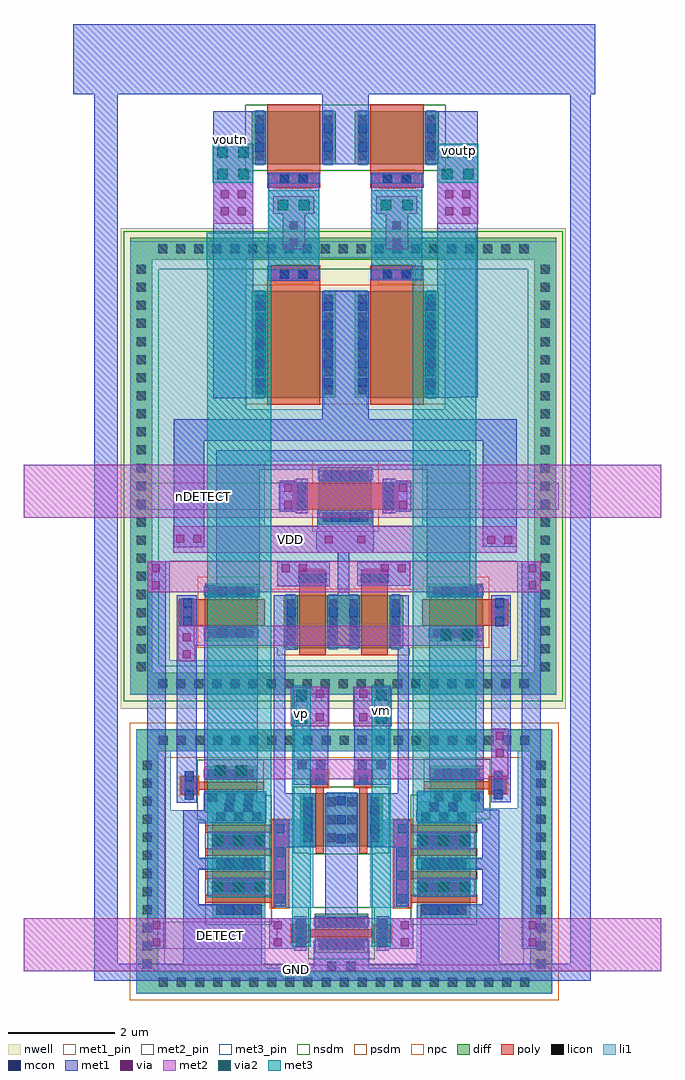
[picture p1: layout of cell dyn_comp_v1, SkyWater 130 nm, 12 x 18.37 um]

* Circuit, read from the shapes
.subckt dyn_comp_v1 DETECT GND VDD nDETECT vm voutn voutp vp
XM1 sky130_fd_pr__nfet_01v8_9ZWGZ9_1/D sky130_fd_pr__nfet_01v8_9ZWGZ9_0/D GND VSUBS sky130_fd_pr__nfet_01v8 w=1 l=0.15
XM2 sky130_fd_pr__nfet_01v8_9ZWGZ9_1/D sky130_fd_pr__pfet_01v8_KDZMJM_14/D GND VSUBS sky130_fd_pr__nfet_01v8 w=1 l=0.15 m=4
XM3 GND sky130_fd_pr__nfet_01v8_9ZWGZ9_1/D voutn VSUBS sky130_fd_pr__nfet_01v8 w=1 l=1
XM4 sky130_fd_pr__nfet_01v8_9ZWGZ9_7/D DETECT GND VSUBS sky130_fd_pr__nfet_01v8 w=1 l=0.15
XM5 sky130_fd_pr__nfet_01v8_9ZWGZ9_7/D vp sky130_fd_pr__pfet_01v8_KDZMJM_14/D VSUBS sky130_fd_pr__nfet_01v8 w=1 l=0.15
XM6 sky130_fd_pr__nfet_01v8_9ZWGZ9_8/D vm sky130_fd_pr__nfet_01v8_9ZWGZ9_7/D VSUBS sky130_fd_pr__nfet_01v8 w=1 l=0.15
XM7 voutp sky130_fd_pr__nfet_01v8_9ZWGZ9_0/D GND VSUBS sky130_fd_pr__nfet_01v8 w=1 l=1
XM8 sky130_fd_pr__nfet_01v8_9ZWGZ9_0/D sky130_fd_pr__nfet_01v8_9ZWGZ9_8/D GND VSUBS sky130_fd_pr__nfet_01v8 w=1 l=0.15 m=4
XM9 sky130_fd_pr__nfet_01v8_9ZWGZ9_0/D sky130_fd_pr__nfet_01v8_9ZWGZ9_1/D GND VSUBS sky130_fd_pr__nfet_01v8 w=1 l=0.15
XM10 sky130_fd_pr__pfet_01v8_KDZMJM_13/D sky130_fd_pr__nfet_01v8_9ZWGZ9_0/D sky130_fd_pr__nfet_01v8_9ZWGZ9_1/D n1 sky130_fd_pr__pfet_01v8 w=1 l=0.5
XM11 VDD sky130_fd_pr__nfet_01v8_9ZWGZ9_1/D voutn n1 sky130_fd_pr__pfet_01v8 w=2 l=1
XM12 VDD DETECT sky130_fd_pr__pfet_01v8_KDZMJM_14/D n1 sky130_fd_pr__pfet_01v8 w=1 l=0.5
XM13 sky130_fd_pr__pfet_01v8_KDZMJM_13/D nDETECT VDD n1 sky130_fd_pr__pfet_01v8 w=1 l=0.5
XM14 sky130_fd_pr__nfet_01v8_9ZWGZ9_8/D DETECT VDD n1 sky130_fd_pr__pfet_01v8 w=1 l=0.5
XM15 voutp sky130_fd_pr__nfet_01v8_9ZWGZ9_0/D VDD n1 sky130_fd_pr__pfet_01v8 w=2 l=1
XM16 sky130_fd_pr__pfet_01v8_KDZMJM_13/D sky130_fd_pr__nfet_01v8_9ZWGZ9_1/D sky130_fd_pr__nfet_01v8_9ZWGZ9_0/D n1 sky130_fd_pr__pfet_01v8 w=1 l=0.5
.ends

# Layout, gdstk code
from math import pi, radians
import gdstk
lib = gdstk.Library(unit=1e-6, precision=1e-09)
def R(c, l, rs):  # rectangles x0, y0, x1, y1
    for r in rs: c.add(gdstk.rectangle(r[:2], r[2:], *l))
def A(c, l, x, y, w, h, nx, ny, dx, dy):  # array of equal rectangles
    R(c, l, [(x+i*dx, y+j*dy, x+i*dx+w, y+j*dy+h) for i in range(nx) for j in range(ny)])
nwell = (64, 20)
diff = (65, 20)
poly = (66, 20)
licon = (66, 44)
li1 = (67, 20)
mcon = (67, 44)
met1_pin = (68, 16)
met1 = (68, 20)
via = (68, 44)
met2_pin = (69, 16)
met2 = (69, 20)
via2 = (69, 44)
met3_pin = (70, 16)
met3 = (70, 20)
nsdm = (93, 44)
psdm = (94, 20)
npc = (95, 20)

sky130_fd_pr__nfet_01v8_ = lib.new_cell('sky130_fd_pr__nfet_01v8_9ZWGZ9')
R(sky130_fd_pr__nfet_01v8_, diff, [(-0.365,-0.655,0.365,0.345)])
R(sky130_fd_pr__nfet_01v8_, poly, [(-0.075,-0.785,0.075,0.455), (-0.165,0.455,0.165,0.785)])
A(sky130_fd_pr__nfet_01v8_, licon, -0.305, -0.58, 0.17, 0.17, 1, 3, 0, 0.34)
A(sky130_fd_pr__nfet_01v8_, licon, 0.135, -0.58, 0.17, 0.17, 1, 3, 0, 0.34)
R(sky130_fd_pr__nfet_01v8_, licon, [(-0.085,0.535,0.085,0.705)])
R(sky130_fd_pr__nfet_01v8_, li1, [(-0.305,-0.66,-0.135,0.35), (0.125,-0.66,0.315,0.35), (-0.165,0.535,0.165,0.705)])
R(sky130_fd_pr__nfet_01v8_, met1, [(-0.145,0.505,0.145,0.735)])
R(sky130_fd_pr__nfet_01v8_, nsdm, [(-0.49,-0.78,0.49,0.47)])
R(sky130_fd_pr__nfet_01v8_, npc, [(-0.185,0.435,0.185,0.805)])
sky130_fd_pr__nfet_01v8_.add(gdstk.Label('G', (0,0.62), layer=67, texttype=5))
sky130_fd_pr__nfet_01v8_.add(gdstk.Label('S', (0.22,-0.155), layer=67, texttype=5))
sky130_fd_pr__nfet_01v8_.add(gdstk.Label('D', (-0.22,-0.155), layer=67, texttype=5))

l1m1_cdns_7790487106243 = lib.new_cell('L1M1_CDNS_7790487106243')
R(l1m1_cdns_7790487106243, li1, [(-0.085,-0.085,0.085,0.085)])
R(l1m1_cdns_7790487106243, mcon, [(-0.085,-0.085,0.085,0.085)])
R(l1m1_cdns_7790487106243, met1, [(-0.145,-0.115,0.145,0.115)])

c_sky130_fd_pr__nfet_01v8_ = lib.new_cell('sky130_fd_pr__nfet_01v8_ML4XRG')
R(c_sky130_fd_pr__nfet_01v8_, diff, [(-0.365,-0.345,0.365,0.655)])
R(c_sky130_fd_pr__nfet_01v8_, poly, [(-0.165,-0.785,0.165,-0.455), (-0.075,-0.455,0.075,0.785)])
A(c_sky130_fd_pr__nfet_01v8_, licon, -0.305, -0.27, 0.17, 0.17, 1, 3, 0, 0.34)
A(c_sky130_fd_pr__nfet_01v8_, licon, 0.135, -0.27, 0.17, 0.17, 1, 3, 0, 0.34)
R(c_sky130_fd_pr__nfet_01v8_, licon, [(-0.085,-0.705,0.085,-0.535)])
R(c_sky130_fd_pr__nfet_01v8_, li1, [(-0.165,-0.705,0.165,-0.535), (-0.305,-0.35,-0.135,0.66), (0.135,-0.35,0.305,0.66)])
R(c_sky130_fd_pr__nfet_01v8_, met1, [(-0.335,-0.345,-0.105,0.655), (0.105,-0.345,0.335,0.655)])
R(c_sky130_fd_pr__nfet_01v8_, nsdm, [(-0.49,-0.47,0.49,0.78)])
R(c_sky130_fd_pr__nfet_01v8_, npc, [(-0.185,-0.805,0.185,-0.435)])
c_sky130_fd_pr__nfet_01v8_.add(gdstk.Reference(l1m1_cdns_7790487106243, (-0.18,-0.62)))
c_sky130_fd_pr__nfet_01v8_.add(gdstk.Reference(l1m1_cdns_7790487106243, (0.18,-0.62)))
c_sky130_fd_pr__nfet_01v8_.add(gdstk.Label('G', (0,-0.62), layer=67, texttype=5))
c_sky130_fd_pr__nfet_01v8_.add(gdstk.Label('S', (0.22,0.155), layer=67, texttype=5))
c_sky130_fd_pr__nfet_01v8_.add(gdstk.Label('D', (-0.22,0.155), layer=67, texttype=5))

l1m1_cdns_7790487106223 = lib.new_cell('L1M1_CDNS_7790487106223')
R(l1m1_cdns_7790487106223, li1, [(-0.265,-0.085,0.265,0.085)])
R(l1m1_cdns_7790487106223, mcon, [(-0.265,-0.085,-0.095,0.085), (0.095,-0.085,0.265,0.085)])
R(l1m1_cdns_7790487106223, met1, [(-0.325,-0.115,0.325,0.115)])

sky130_fd_pr__pfet_01v8_ = lib.new_cell('sky130_fd_pr__pfet_01v8_KDZMJM')
R(sky130_fd_pr__pfet_01v8_, nwell, [(-0.72,-0.99,0.72,0.82)])
R(sky130_fd_pr__pfet_01v8_, diff, [(-0.54,-0.68,0.54,0.32)])
R(sky130_fd_pr__pfet_01v8_, poly, [(-0.25,-0.81,0.25,0.805)])
A(sky130_fd_pr__pfet_01v8_, licon, -0.48, -0.605, 0.17, 0.17, 1, 3, 0, 0.34)
A(sky130_fd_pr__pfet_01v8_, licon, 0.31, -0.605, 0.17, 0.17, 1, 3, 0, 0.34)
R(sky130_fd_pr__pfet_01v8_, licon, [(-0.085,0.555,0.085,0.725)])
R(sky130_fd_pr__pfet_01v8_, li1, [(-0.48,-0.7,-0.31,0.34), (0.31,-0.7,0.48,0.34), (-0.25,0.555,0.25,0.725)])
R(sky130_fd_pr__pfet_01v8_, mcon, [(-0.48,-0.445,-0.31,-0.275), (0.31,-0.445,0.48,-0.275), (-0.48,-0.085,-0.31,0.085), (0.31,-0.085,0.48,0.085)])
R(sky130_fd_pr__pfet_01v8_, met1, [(-0.51,-0.68,-0.28,0.32), (0.28,-0.68,0.51,0.32), (-0.23,0.525,0.23,0.755)])
R(sky130_fd_pr__pfet_01v8_, psdm, [(-0.665,-0.805,0.665,0.445)])
R(sky130_fd_pr__pfet_01v8_, npc, [(-0.185,0.455,0.185,0.825)])
sky130_fd_pr__pfet_01v8_.add(gdstk.Reference(l1m1_cdns_7790487106223, (0,0.64)))
sky130_fd_pr__pfet_01v8_.add(gdstk.Label('G', (0,0.64), layer=67, texttype=5))
sky130_fd_pr__pfet_01v8_.add(gdstk.Label('S', (0.395,-0.18), layer=67, texttype=5))
sky130_fd_pr__pfet_01v8_.add(gdstk.Label('D', (-0.395,-0.18), layer=67, texttype=5))

c_sky130_fd_pr__pfet_01v8_ = lib.new_cell('sky130_fd_pr__pfet_01v8_U2XPXD')
R(c_sky130_fd_pr__pfet_01v8_, nwell, [(-0.72,-1,0.72,1)])
R(c_sky130_fd_pr__pfet_01v8_, diff, [(-0.54,-0.5,0.54,0.5)])
R(c_sky130_fd_pr__pfet_01v8_, poly, [(-0.25,-0.985,0.25,0.985)])
A(c_sky130_fd_pr__pfet_01v8_, licon, -0.48, -0.425, 0.17, 0.17, 1, 3, 0, 0.34)
A(c_sky130_fd_pr__pfet_01v8_, licon, 0.31, -0.425, 0.17, 0.17, 1, 3, 0, 0.34)
R(c_sky130_fd_pr__pfet_01v8_, licon, [(-0.085,-0.905,0.085,-0.735), (-0.085,0.735,0.085,0.905)])
R(c_sky130_fd_pr__pfet_01v8_, li1, [(-0.25,-0.905,0.25,-0.735), (-0.48,-0.52,-0.31,0.52), (0.31,-0.52,0.48,0.52), (-0.25,0.735,0.25,0.905)])
R(c_sky130_fd_pr__pfet_01v8_, mcon, [(-0.48,-0.265,-0.31,-0.095), (0.31,-0.265,0.48,-0.095), (-0.48,0.095,-0.31,0.265), (0.31,0.095,0.48,0.265)])
R(c_sky130_fd_pr__pfet_01v8_, met1, [(-0.23,-0.935,0.23,-0.705), (-0.51,-0.5,-0.28,0.5), (0.28,-0.5,0.51,0.5)])
R(c_sky130_fd_pr__pfet_01v8_, psdm, [(-0.665,-0.625,0.665,0.625)])
R(c_sky130_fd_pr__pfet_01v8_, npc, [(-0.185,-1.005,0.185,-0.635), (-0.185,0.635,0.185,1.005)])
c_sky130_fd_pr__pfet_01v8_.add(gdstk.Reference(l1m1_cdns_7790487106223, (0,-0.82)))
c_sky130_fd_pr__pfet_01v8_.add(gdstk.Reference(l1m1_cdns_7790487106223, (0,0.82)))
c_sky130_fd_pr__pfet_01v8_.add(gdstk.Label('G', (0,0.82), layer=67, texttype=5))
c_sky130_fd_pr__pfet_01v8_.add(gdstk.Label('S', (0.395,0), layer=67, texttype=5))
c_sky130_fd_pr__pfet_01v8_.add(gdstk.Label('D', (-0.395,0), layer=67, texttype=5))

c_sky130_fd_pr__nfet_01v8__ = lib.new_cell('sky130_fd_pr__nfet_01v8_V52S8A')
R(c_sky130_fd_pr__nfet_01v8__, diff, [(-0.79,-0.655,0.79,0.345)])
R(c_sky130_fd_pr__nfet_01v8__, poly, [(-0.5,-0.785,0.5,0.785)])
A(c_sky130_fd_pr__nfet_01v8__, licon, -0.73, -0.58, 0.17, 0.17, 1, 3, 0, 0.34)
A(c_sky130_fd_pr__nfet_01v8__, licon, 0.56, -0.58, 0.17, 0.17, 1, 3, 0, 0.34)
R(c_sky130_fd_pr__nfet_01v8__, licon, [(-0.255,0.535,-0.085,0.705), (0.085,0.535,0.255,0.705)])
R(c_sky130_fd_pr__nfet_01v8__, li1, [(-0.73,-0.675,-0.56,0.365), (0.56,-0.675,0.73,0.365), (-0.5,0.535,0.5,0.705)])
R(c_sky130_fd_pr__nfet_01v8__, mcon, [(-0.73,-0.42,-0.56,-0.25), (0.56,-0.42,0.73,-0.25), (-0.73,-0.06,-0.56,0.11), (0.56,-0.06,0.73,0.11), (-0.265,0.535,-0.095,0.705), (0.095,0.535,0.265,0.705)])
R(c_sky130_fd_pr__nfet_01v8__, met1, [(-0.76,-0.655,-0.53,0.345), (0.53,-0.655,0.76,0.345), (-0.48,0.505,0.48,0.735)])
R(c_sky130_fd_pr__nfet_01v8__, nsdm, [(-0.915,-0.78,0.915,0.47)])
R(c_sky130_fd_pr__nfet_01v8__, npc, [(-0.355,0.435,0.355,0.805)])
c_sky130_fd_pr__nfet_01v8__.add(gdstk.Label('G', (0,0.62), layer=67, texttype=5))
c_sky130_fd_pr__nfet_01v8__.add(gdstk.Label('S', (0.645,-0.155), layer=67, texttype=5))
c_sky130_fd_pr__nfet_01v8__.add(gdstk.Label('D', (-0.645,-0.155), layer=67, texttype=5))

c_sky130_fd_pr__pfet_01v8__ = lib.new_cell('sky130_fd_pr__pfet_01v8_D48SMA')
R(c_sky130_fd_pr__pfet_01v8__, nwell, [(-0.97,-1.32,0.97,1.49)])
R(c_sky130_fd_pr__pfet_01v8__, diff, [(-0.79,-0.82,0.79,1.18)])
R(c_sky130_fd_pr__pfet_01v8__, poly, [(-0.5,-1.305,0.5,1.31)])
A(c_sky130_fd_pr__pfet_01v8__, licon, -0.73, -0.755, 0.17, 0.17, 1, 6, 0, 0.34)
A(c_sky130_fd_pr__pfet_01v8__, licon, 0.56, -0.755, 0.17, 0.17, 1, 6, 0, 0.34)
R(c_sky130_fd_pr__pfet_01v8__, licon, [(-0.255,-1.225,-0.085,-1.055), (0.085,-1.225,0.255,-1.055)])
R(c_sky130_fd_pr__pfet_01v8__, li1, [(-0.5,-1.225,0.5,-1.055), (-0.73,-0.84,-0.56,1.2), (0.56,-0.84,0.73,1.2)])
A(c_sky130_fd_pr__pfet_01v8__, mcon, -0.73, -0.625, 0.17, 0.17, 1, 5, 0, 0.36)
A(c_sky130_fd_pr__pfet_01v8__, mcon, 0.56, -0.625, 0.17, 0.17, 1, 5, 0, 0.36)
R(c_sky130_fd_pr__pfet_01v8__, mcon, [(-0.265,-1.225,-0.095,-1.055), (0.095,-1.225,0.265,-1.055)])
R(c_sky130_fd_pr__pfet_01v8__, met1, [(-0.48,-1.255,0.48,-1.025), (-0.76,-0.82,-0.53,1.18), (0.53,-0.82,0.76,1.18)])
R(c_sky130_fd_pr__pfet_01v8__, psdm, [(-0.915,-0.945,0.915,1.305)])
R(c_sky130_fd_pr__pfet_01v8__, npc, [(-0.355,-1.325,0.355,-0.955)])
c_sky130_fd_pr__pfet_01v8__.add(gdstk.Label('G', (0,-1.14), layer=67, texttype=5))
c_sky130_fd_pr__pfet_01v8__.add(gdstk.Label('S', (0.645,0.18), layer=67, texttype=5))
c_sky130_fd_pr__pfet_01v8__.add(gdstk.Label('D', (-0.645,0.18), layer=67, texttype=5))

c_sky130_fd_pr__nfet_01v8___ = lib.new_cell('sky130_fd_pr__nfet_01v8_9ZAZEB')
R(c_sky130_fd_pr__nfet_01v8___, diff, [(-0.365,-0.5,0.365,0.5)])
R(c_sky130_fd_pr__nfet_01v8___, poly, [(-0.165,-0.94,0.165,-0.61), (-0.075,-0.61,0.075,0.61), (-0.165,0.61,0.165,0.94)])
A(c_sky130_fd_pr__nfet_01v8___, licon, -0.305, -0.425, 0.17, 0.17, 1, 3, 0, 0.34)
A(c_sky130_fd_pr__nfet_01v8___, licon, 0.135, -0.425, 0.17, 0.17, 1, 3, 0, 0.34)
R(c_sky130_fd_pr__nfet_01v8___, licon, [(-0.085,-0.86,0.085,-0.69), (-0.085,0.69,0.085,0.86)])
R(c_sky130_fd_pr__nfet_01v8___, li1, [(-0.165,-0.86,0.165,-0.69), (-0.305,-0.52,-0.135,0.52), (0.135,-0.52,0.305,0.52), (-0.165,0.69,0.165,0.86)])
R(c_sky130_fd_pr__nfet_01v8___, mcon, [(-0.305,-0.265,-0.135,-0.095), (0.135,-0.265,0.305,-0.095), (-0.305,0.095,-0.135,0.265), (0.135,0.095,0.305,0.265)])
R(c_sky130_fd_pr__nfet_01v8___, met1, [(-0.295,-1.355,0.285,-0.735), (-0.145,-0.89,0.145,-0.66), (-0.335,-0.5,-0.105,0.5), (0.105,-0.5,0.335,0.5), (-0.145,0.66,0.145,0.89), (-0.295,0.755,0.285,1.355)])
R(c_sky130_fd_pr__nfet_01v8___, nsdm, [(-0.49,-0.625,0.49,0.625)])
R(c_sky130_fd_pr__nfet_01v8___, npc, [(-0.185,-0.96,0.185,-0.59), (-0.185,0.59,0.185,0.96)])
c_sky130_fd_pr__nfet_01v8___.add(gdstk.Reference(l1m1_cdns_7790487106223, (0,-0.775)))
c_sky130_fd_pr__nfet_01v8___.add(gdstk.Reference(l1m1_cdns_7790487106223, (0,0.775)))
c_sky130_fd_pr__nfet_01v8___.add(gdstk.Label('G', (0,0.775), layer=67, texttype=5))
c_sky130_fd_pr__nfet_01v8___.add(gdstk.Label('S', (0.22,0), layer=67, texttype=5))
c_sky130_fd_pr__nfet_01v8___.add(gdstk.Label('D', (-0.22,0), layer=67, texttype=5))

m1m2_cdns_7790487106237 = lib.new_cell('M1M2_CDNS_7790487106237')
R(m1m2_cdns_7790487106237, met1, [(-0.32,-0.29,0.32,0.29)])
R(m1m2_cdns_7790487106237, via, [(-0.235,-0.235,-0.085,-0.085), (0.085,-0.235,0.235,-0.085), (-0.235,0.085,-0.085,0.235), (0.085,0.085,0.235,0.235)])
R(m1m2_cdns_7790487106237, met2, [(-0.32,-0.29,0.32,0.29)])

m2m3_cdns_7790487106227 = lib.new_cell('M2M3_CDNS_7790487106227')
R(m2m3_cdns_7790487106227, met2, [(-0.385,-0.365,0.385,0.365)])
R(m2m3_cdns_7790487106227, via2, [(-0.3,-0.3,-0.1,-0.1), (0.1,-0.3,0.3,-0.1), (-0.3,0.1,-0.1,0.3), (0.1,0.1,0.3,0.3)])
R(m2m3_cdns_7790487106227, met3, [(-0.385,-0.365,0.385,0.365)])

m1m2_cdns_7790487106229 = lib.new_cell('M1M2_CDNS_7790487106229')
R(m1m2_cdns_7790487106229, met1, [(-0.16,-0.29,0.16,0.29)])
R(m1m2_cdns_7790487106229, via, [(-0.075,-0.235,0.075,-0.085), (-0.075,0.085,0.075,0.235)])
R(m1m2_cdns_7790487106229, met2, [(-0.16,-0.29,0.16,0.29)])

m1m2_cdns_7790487106226 = lib.new_cell('M1M2_CDNS_7790487106226')
R(m1m2_cdns_7790487106226, met1, [(-0.32,-0.13,0.32,0.13)])
R(m1m2_cdns_7790487106226, via, [(-0.235,-0.075,-0.085,0.075), (0.085,-0.075,0.235,0.075)])
R(m1m2_cdns_7790487106226, met2, [(-0.32,-0.13,0.32,0.13)])

m2m3_cdns_7790487106225 = lib.new_cell('M2M3_CDNS_7790487106225')
R(m2m3_cdns_7790487106225, met2, [(-0.385,-0.165,0.385,0.165)])
R(m2m3_cdns_7790487106225, via2, [(-0.3,-0.1,-0.1,0.1), (0.1,-0.1,0.3,0.1)])
R(m2m3_cdns_7790487106225, met3, [(-0.385,-0.165,0.385,0.165)])

l1m1_cdns_7790487106220 = lib.new_cell('L1M1_CDNS_7790487106220')
R(l1m1_cdns_7790487106220, li1, [(-0.085,-0.265,0.085,0.265)])
R(l1m1_cdns_7790487106220, mcon, [(-0.085,-0.265,0.085,-0.095), (-0.085,0.095,0.085,0.265)])
R(l1m1_cdns_7790487106220, met1, [(-0.145,-0.295,0.145,0.295)])

l1m1_cdns_7790487106238 = lib.new_cell('L1M1_CDNS_7790487106238')
R(l1m1_cdns_7790487106238, li1, [(-0.085,-0.445,0.085,0.445)])
A(l1m1_cdns_7790487106238, mcon, -0.085, -0.445, 0.17, 0.17, 1, 3, 0, 0.36)
R(l1m1_cdns_7790487106238, met1, [(-0.145,-0.475,0.145,0.475)])

m2m3_cdns_7790487106239 = lib.new_cell('M2M3_CDNS_7790487106239')
R(m2m3_cdns_7790487106239, met2, [(-0.585,-0.165,0.585,0.165)])
A(m2m3_cdns_7790487106239, via2, -0.5, -0.1, 0.2, 0.2, 3, 1, 0.4, 0)
R(m2m3_cdns_7790487106239, met3, [(-0.585,-0.165,0.585,0.165)])

m1m2_cdns_7790487106240 = lib.new_cell('M1M2_CDNS_7790487106240')
R(m1m2_cdns_7790487106240, met1, [(-0.5,-0.13,0.5,0.13)])
A(m1m2_cdns_7790487106240, via, -0.395, -0.075, 0.15, 0.15, 3, 1, 0.32, 0)
R(m1m2_cdns_7790487106240, met2, [(-0.585,-0.165,0.585,0.165)])

l1m1_cdns_7790487106241 = lib.new_cell('L1M1_CDNS_7790487106241')
R(l1m1_cdns_7790487106241, li1, [(-0.5,-0.1,0.5,0.1)])
R(l1m1_cdns_7790487106241, mcon, [(-0.265,-0.085,-0.095,0.085), (0.095,-0.085,0.265,0.085)])
R(l1m1_cdns_7790487106241, met1, [(-0.5,-0.13,0.5,0.13)])

m1m2_cdns_7790487106242 = lib.new_cell('M1M2_CDNS_7790487106242')
R(m1m2_cdns_7790487106242, met1, [(-0.385,-0.165,0.385,0.165)])
R(m1m2_cdns_7790487106242, via, [(-0.235,-0.075,-0.085,0.075), (0.085,-0.075,0.235,0.075)])
R(m1m2_cdns_7790487106242, met2, [(-0.385,-0.165,0.385,0.165)])

dyn_comp_v1 = lib.new_cell('dyn_comp_v1')
R(dyn_comp_v1, nwell, [(0.03,4.285,8.4,13.32)])
R(dyn_comp_v1, diff, [(0.32,-1.075,0.625,-0.685), (0.625,-1.075,7.835,-0.665), (7.835,-1.075,8.14,-0.68), (7.73,-0.87,8.14,3.505), (0.32,-0.83,0.73,3.505), (3.905,1.69,4.455,1.97), (3.915,1.97,4.455,2.67), (5.645,2.21,6.605,2.33), (1.595,2.32,2.745,2.53), (5.645,2.33,6.855,2.39), (5.605,2.39,6.855,2.49), (5.605,2.49,5.855,2.54), (4.075,2.67,4.305,2.69), (0.32,3.48,8.14,3.89), (0.32,3.505,0.685,3.88), (7.795,3.505,8.14,3.88), (0.21,4.55,8.21,4.96), (7.81,4.55,8.22,13.07), (0.21,4.855,0.62,13.07), (3.915,5.415,4.525,6.415), (3.125,6.005,3.245,6.255), (0.21,12.73,8.22,13.14)])
R(dyn_comp_v1, poly, [(2.855,0.54,3.185,2.19), (5.165,0.54,5.495,2.19), (2.935,1.86,3.185,2.19), (5.165,1.86,5.415,2.19), (5.165,1.86,5.415,2.19), (1.155,2.67,1.455,3), (1.155,5.835,1.405,6.345)])
A(dyn_comp_v1, licon, 0.745, -0.955, 0.17, 0.17, 21, 2, 0.34, 4.555)
A(dyn_comp_v1, licon, 0.44, -0.605, 0.17, 0.17, 1, 12, 0, 0.34)
A(dyn_comp_v1, licon, 7.85, -0.605, 0.17, 0.17, 1, 12, 0, 0.34)
A(dyn_comp_v1, licon, 0.73, 4.67, 0.17, 0.17, 21, 2, 0.34, 8.18)
A(dyn_comp_v1, licon, 0.33, 4.985, 0.17, 0.17, 1, 23, 0, 0.34)
A(dyn_comp_v1, licon, 7.93, 4.985, 0.17, 0.17, 1, 23, 0, 0.34)
R(dyn_comp_v1, li1, [(0.315,-1.08,8.145,-0.59), (0.315,-0.955,8.02,-0.65), (0.315,-0.745,2.75,0.4), (5.6,-0.745,8.02,0.4), (3.66,-0.735,4.7,-0.21), (5.675,-0.685,8.145,0.36), (3.66,-0.21,4.7,-0.08), (4.41,-0.105,4.7,-0.08), (0.315,-0.08,0.585,3.885), (7.945,-0.075,8.145,3.885), (0.33,0.39,2.735,0.58), (5.68,0.4,8.02,0.57), (6.825,0.47,8.02,2.16), (0.44,0.485,1.495,2.16), (2.935,0.54,3.645,2.19), (2.935,0.54,3.105,1.905), (4.725,0.54,5.415,2.19), (5.245,0.54,5.415,1.905), (1.74,0.825,2.75,1.025), (5.6,0.825,6.61,1.025), (0.33,1.27,2.745,1.46), (5.585,1.27,7.74,1.46), (5.585,1.28,8.02,1.45), (3.905,1.685,4.465,2.705), (1.74,1.705,2.75,1.905), (5.6,1.705,6.61,1.905), (2.935,1.86,3.55,2.19), (4.725,1.86,5.415,2.19), (7.495,2.05,8.02,3.595), (0.44,2.16,2.095,2.33), (2.555,2.16,2.745,2.33), (5.605,2.16,5.795,2.33), (5.605,2.16,5.865,2.21), (6.605,2.16,8.02,2.21), (5.6,2.21,8.02,2.405), (5.6,2.285,6.86,2.56), (1.59,2.315,2.75,2.53), (0.44,2.33,2.745,2.37), (0.44,2.355,0.965,3.545), (1.67,2.53,1.765,2.57), (2.555,2.53,2.75,2.7), (5.6,2.56,6.78,2.66), (1.235,2.57,1.405,3.1), (7.045,2.58,7.215,2.85), (7.045,2.58,7.215,3.11), (5.6,2.66,5.865,2.71), (3.605,2.88,3.935,3.31), (4.425,2.88,4.755,3.31), (1.7,3.01,2.49,3.14), (0.44,3.48,8.02,3.76), (0.315,3.635,8.145,3.885), (0.44,3.76,8.01,3.775), (0.205,4.545,8.225,4.965), (7.815,4.545,8.225,13.075), (0.205,4.55,0.465,13.075), (0.33,4.67,8.1,5.195), (0.33,5.195,0.945,7.055), (7.485,5.195,8.1,7.055), (3.125,5.395,3.295,5.585), (3.125,5.585,3.325,6.415), (1.155,5.83,1.405,6.36), (7.07,5.83,7.24,6.36), (1.155,5.835,1.405,6.345), (3.125,6.415,3.305,6.435), (0.33,7.055,8.1,7.725), (0.33,7.725,2.735,8.935), (3.725,7.725,4.775,8.015), (5.705,7.725,8.1,8.935), (3,8.015,3.52,8.545), (4.99,8.015,5.42,8.545), (0.33,8.935,8.1,9.915), (0.33,9.915,2.385,12.78), (3.845,9.915,4.665,12.155), (6.125,9.915,8.1,12.78), (0.205,12.765,8.225,13.075), (0.33,12.78,8.1,12.95)])
R(dyn_comp_v1, mcon, [(3.915,-0.65,4.085,-0.48), (4.275,-0.65,4.445,-0.48)])
R(dyn_comp_v1, met1_pin, [(3.3,-0.7,3.38,-0.56)])
R(dyn_comp_v1, met1, [(-0.475,-0.84,8.875,-0.52), (8.49,-0.73,8.875,16.855), (5.675,-0.715,7.145,0.36), (3.66,-0.67,4.7,-0.26), (-0.475,-0.655,-0.03,15.845), (1.205,-0.625,2.685,0.4), (3.66,-0.26,4.7,-0.08), (0.525,-0.24,0.875,6.555), (7.575,-0.24,7.935,7.055), (2.83,-0.11,3.52,0.22), (4.845,-0.11,5.535,0.22), (3.875,0.3,4.485,2.69), (5.675,0.33,7.145,0.6), (1.205,0.37,2.685,0.6), (1.205,0.4,1.495,2.16), (5.675,0.4,7.105,0.6), (6.825,0.4,7.115,2.16), (6.855,0.4,7.145,2.16), (2.905,0.56,3.135,1.73), (5.215,0.56,5.445,1.73), (1.305,1.25,2.745,1.48), (5.605,1.25,7.105,1.45), (5.605,1.25,7.045,1.48), (2.905,1.67,3.695,2.69), (4.665,1.67,5.445,2.69), (1.205,2.13,2.095,2.33), (1.595,2.13,2.765,2.73), (5.605,2.13,6.32,2.21), (6.255,2.13,7.145,2.33), (2.555,2.16,2.765,2.33), (5.585,2.16,5.795,2.33), (6.605,2.16,7.115,2.21), (2.305,2.19,2.405,2.33), (5.945,2.19,6.045,2.33), (5.605,2.21,7.115,2.38), (5.605,2.315,6.855,2.56), (1.595,2.32,2.765,2.53), (1.205,2.33,2.765,2.37), (5.585,2.33,7.145,2.37), (1.085,2.51,1.455,6.42), (6.995,2.52,7.365,6.42), (2.165,2.53,2.265,2.66), (2.555,2.53,2.765,2.73), (5.235,2.545,5.445,6.015), (5.605,2.56,6.815,2.66), (2.905,2.59,3.125,5.395), (5.605,2.66,5.885,2.74), (3.285,2.85,3.935,4.695), (3.605,2.85,3.935,4.695), (4.425,2.85,5.075,4.695), (4.425,2.85,5.075,3.34), (4.425,2.85,4.755,4.695), (5.835,2.935,6.855,5.845), (1.595,2.94,2.605,5.815), (3.285,3.11,3.935,4.695), (2.905,5.395,3.355,5.705), (3.915,5.415,4.525,6.415), (2.905,5.705,3.125,6.005), (2.905,6.005,3.245,6.255), (5.105,6.015,5.445,6.255), (2.905,6.255,3.125,6.415), (5.235,6.255,5.445,6.415), (1.825,6.375,2.645,8.95), (5.785,6.375,6.605,8.875), (4.115,6.415,4.325,7.215), (0.525,6.555,0.875,7.055), (2.975,6.585,3.96,7.05), (3.395,6.585,3.875,6.905), (4.48,6.595,5.475,7.05), (4.565,6.595,5.045,6.915), (3.725,7.215,4.775,7.285), (3.705,7.285,4.79,7.645), (1.02,7.32,1.595,9.325), (6.835,7.33,7.475,9.325), (3.725,7.645,4.775,8.015), (3.03,7.985,3.55,8.575), (4.96,7.985,5.48,8.575), (1.825,8.78,6.605,9.14), (1.02,9.325,7.475,9.725), (3.815,9.725,4.695,12.135), (1.765,10.125,2.525,15.525), (5.985,10.135,6.425,10.145), (5.985,10.145,6.745,15.525), (2.805,12.335,3.765,14.36), (4.745,12.34,5.705,14.35), (3.815,14.525,4.695,15.845), (2.085,15.505,2.525,15.525), (-0.87,15.845,8.96,17.165)])
R(dyn_comp_v1, via, [(3.695,4.045,3.845,4.195), (4.515,4.045,4.665,4.195), (3.695,4.485,3.845,4.635), (4.515,4.485,4.665,4.635), (6.11,5.58,6.26,5.73), (6.43,5.58,6.58,5.73), (3.865,7.39,4.015,7.54), (4.48,7.39,4.63,7.54)])
R(dyn_comp_v1, met2_pin, [(0.825,-0.24,2.97,0.27), (1.405,5.465,5.995,5.845), (1.015,7.215,7.475,7.715), (0.37,8.025,8.265,8.535), (1.765,13.41,2.525,14.91), (5.985,13.41,6.755,14.91)])
R(dyn_comp_v1, met2, [(-1.8,-0.66,10.2,0.34), (0.54,-0.495,7.935,0.34), (0.54,-0.24,7.925,0.34), (1.735,0.735,2.715,0.765), (5.635,0.735,6.615,0.765), (1.735,1.065,2.715,1.105), (5.635,1.065,6.615,1.105), (1.595,2.95,7.315,3.33), (3.23,3.95,3.955,4.695), (4.405,3.95,5.13,4.695), (1.11,5.465,6.855,5.845), (0.605,6.475,7.935,7.055), (1.015,7.215,7.475,7.715), (1.895,7.33,7.475,7.715), (-1.8,7.87,10.2,8.87), (0.175,7.99,8.365,8.59), (3.075,12.925,3.495,13.925), (5.015,12.925,5.435,13.925), (1.765,13.41,2.525,14.91), (5.985,13.41,6.755,14.91)])
R(dyn_comp_v1, via2, [(3.33,4,3.53,4.2), (4.83,4,5.03,4.2), (3.33,4.44,3.53,4.64), (4.83,4.44,5.03,4.64), (6.05,5.565,6.25,5.765), (6.45,5.565,6.65,5.765)])
R(dyn_comp_v1, met3_pin, [(3.32,4,3.535,4.415), (4.8,4.04,5.055,4.45)])
R(dyn_comp_v1, met3, [(3.255,-0.2,3.605,4.725), (4.755,-0.2,5.105,4.725), (1.655,0.735,2.855,12.82), (5.52,0.745,6.72,12.615), (1.65,12.615,3.765,13.235), (4.745,12.615,6.72,13.255), (2.805,13.235,3.765,14.035), (4.745,13.255,5.705,14.035)])
R(dyn_comp_v1, nsdm, [(3.555,1.545,4.805,1.565), (3.78,1.565,4.58,2.095), (5.52,2.085,6.73,2.205), (3.79,2.095,4.58,2.795), (1.47,2.195,2.87,2.655), (5.52,2.205,6.98,2.265), (5.48,2.265,6.98,2.615), (5.48,2.615,6.94,2.665), (5.73,2.665,6.94,2.785), (3.95,2.795,4.43,2.815), (0.085,4.425,8.345,5.085), (0.085,4.965,0.745,12.655), (7.685,4.965,8.345,12.655), (0.085,12.55,8.345,13.265), (4.2,14.4,4.31,15.65)])
R(dyn_comp_v1, psdm, [(0.195,-1.2,8.265,-0.54), (7.605,-1.075,8.265,3.885), (0.195,-0.79,0.855,3.885), (0.195,3.355,8.265,4.015), (3.79,5.29,4.65,6.54), (2.73,5.43,2.97,6.54), (5.47,5.43,5.71,6.54), (3,5.88,3.37,6.38), (4.2,10.01,4.31,12.26)])
R(dyn_comp_v1, npc, [(2.835,0.52,3.205,2.21), (5.145,0.52,5.515,2.21)])
dyn_comp_v1.add(gdstk.Reference(sky130_fd_pr__nfet_01v8_, (5.95,0.705), rotation=3*pi/2, x_reflection=True))
dyn_comp_v1.add(gdstk.Reference(sky130_fd_pr__nfet_01v8_, (2.4,0.705), rotation=3*pi/2))
dyn_comp_v1.add(gdstk.Reference(sky130_fd_pr__nfet_01v8_, (5.95,1.145), rotation=pi/2))
dyn_comp_v1.add(gdstk.Reference(sky130_fd_pr__nfet_01v8_, (2.4,1.145), rotation=pi/2, x_reflection=True))
dyn_comp_v1.add(gdstk.Reference(sky130_fd_pr__nfet_01v8_, (5.95,1.585), rotation=3*pi/2, x_reflection=True))
dyn_comp_v1.add(gdstk.Reference(sky130_fd_pr__nfet_01v8_, (2.4,1.585), rotation=pi/2, x_reflection=True))
dyn_comp_v1.add(gdstk.Reference(sky130_fd_pr__nfet_01v8_, (5.95,2.025), rotation=pi/2))
dyn_comp_v1.add(gdstk.Reference(sky130_fd_pr__nfet_01v8_, (3.77,2.345), rotation=pi, x_reflection=True))
dyn_comp_v1.add(gdstk.Reference(sky130_fd_pr__nfet_01v8_, (4.59,2.345), rotation=pi, x_reflection=True))
dyn_comp_v1.add(gdstk.Reference(sky130_fd_pr__nfet_01v8_, (2.4,2.025), rotation=3*pi/2))
dyn_comp_v1.add(gdstk.Reference(c_sky130_fd_pr__nfet_01v8_, (6.51,2.845), rotation=pi/2))
dyn_comp_v1.add(gdstk.Reference(c_sky130_fd_pr__nfet_01v8_, (1.94,2.835), rotation=3*pi/2))
dyn_comp_v1.add(gdstk.Reference(sky130_fd_pr__pfet_01v8_, (4.805,6.095)))
dyn_comp_v1.add(gdstk.Reference(sky130_fd_pr__pfet_01v8_, (6.515,6.095), rotation=3*pi/2))
dyn_comp_v1.add(gdstk.Reference(sky130_fd_pr__pfet_01v8_, (3.635,6.095)))
dyn_comp_v1.add(gdstk.Reference(sky130_fd_pr__pfet_01v8_, (1.925,6.095), rotation=pi/2))
dyn_comp_v1.add(gdstk.Reference(c_sky130_fd_pr__pfet_01v8_, (4.255,8.28), rotation=pi/2))
dyn_comp_v1.add(gdstk.Reference(c_sky130_fd_pr__nfet_01v8__, (3.285,14.87), x_reflection=True))
dyn_comp_v1.add(gdstk.Reference(c_sky130_fd_pr__nfet_01v8__, (5.225,14.87), x_reflection=True))
dyn_comp_v1.add(gdstk.Reference(c_sky130_fd_pr__pfet_01v8__, (5.225,11.315), rotation=pi))
dyn_comp_v1.add(gdstk.Reference(c_sky130_fd_pr__pfet_01v8__, (3.285,11.315), x_reflection=True))
dyn_comp_v1.add(gdstk.Reference(c_sky130_fd_pr__nfet_01v8___, (4.18,0.055), rotation=pi/2))
dyn_comp_v1.add(gdstk.Reference(m1m2_cdns_7790487106237, (2.14,13.805)))
dyn_comp_v1.add(gdstk.Reference(m1m2_cdns_7790487106237, (6.37,13.805)))
dyn_comp_v1.add(gdstk.Reference(m2m3_cdns_7790487106227, (6.37,14.545)))
dyn_comp_v1.add(gdstk.Reference(m2m3_cdns_7790487106227, (2.14,14.545)))
dyn_comp_v1.add(gdstk.Reference(m1m2_cdns_7790487106229, (1.27,5.465)))
dyn_comp_v1.add(gdstk.Reference(m1m2_cdns_7790487106229, (3.285,13.215)))
dyn_comp_v1.add(gdstk.Reference(m1m2_cdns_7790487106229, (5.22,13.215)))
dyn_comp_v1.add(gdstk.Reference(m1m2_cdns_7790487106229, (7.155,3.61)))
dyn_comp_v1.add(gdstk.Reference(m1m2_cdns_7790487106229, (2.985,0.05)))
dyn_comp_v1.add(gdstk.Reference(m1m2_cdns_7790487106229, (5.375,0.05)))
dyn_comp_v1.add(gdstk.Reference(m1m2_cdns_7790487106229, (0.7,0.05)))
dyn_comp_v1.add(gdstk.Reference(m1m2_cdns_7790487106229, (7.775,0.05)))
dyn_comp_v1.add(gdstk.Reference(m1m2_cdns_7790487106229, (0.685,6.765)))
dyn_comp_v1.add(gdstk.Reference(m1m2_cdns_7790487106229, (7.775,6.765)))
dyn_comp_v1.add(gdstk.Reference(m1m2_cdns_7790487106229, (5.335,8.28)))
dyn_comp_v1.add(gdstk.Reference(m1m2_cdns_7790487106229, (3.175,8.28)))
dyn_comp_v1.add(gdstk.Reference(m1m2_cdns_7790487106229, (1.31,7.48), rotation=pi/2))
dyn_comp_v1.add(gdstk.Reference(m1m2_cdns_7790487106226, (3.295,6.92)))
dyn_comp_v1.add(gdstk.Reference(m1m2_cdns_7790487106226, (5.155,6.92)))
dyn_comp_v1.add(gdstk.Reference(m1m2_cdns_7790487106226, (7.155,7.46)))
dyn_comp_v1.add(gdstk.Reference(m2m3_cdns_7790487106225, (2.095,3.115)))
dyn_comp_v1.add(gdstk.Reference(m2m3_cdns_7790487106225, (5.22,13.76)))
dyn_comp_v1.add(gdstk.Reference(m2m3_cdns_7790487106225, (3.28,13.76)))
dyn_comp_v1.add(gdstk.Reference(l1m1_cdns_7790487106223, (6.355,3.065)))
dyn_comp_v1.add(gdstk.Reference(l1m1_cdns_7790487106223, (6.105,2.435), rotation=pi, x_reflection=True))
dyn_comp_v1.add(gdstk.Reference(l1m1_cdns_7790487106223, (6.105,1.365), rotation=pi, x_reflection=True))
dyn_comp_v1.add(gdstk.Reference(l1m1_cdns_7790487106223, (6.105,0.485), rotation=pi, x_reflection=True))
dyn_comp_v1.add(gdstk.Reference(l1m1_cdns_7790487106223, (2.245,2.43), rotation=pi, x_reflection=True))
dyn_comp_v1.add(gdstk.Reference(l1m1_cdns_7790487106223, (2.245,1.365)))
dyn_comp_v1.add(gdstk.Reference(l1m1_cdns_7790487106223, (2.245,0.485)))
dyn_comp_v1.add(gdstk.Reference(l1m1_cdns_7790487106223, (2.095,3.055)))
dyn_comp_v1.add(gdstk.Reference(l1m1_cdns_7790487106223, (3.61,3.225)))
dyn_comp_v1.add(gdstk.Reference(l1m1_cdns_7790487106223, (4.75,3.225)))
dyn_comp_v1.add(gdstk.Reference(l1m1_cdns_7790487106220, (4.81,2.19)))
dyn_comp_v1.add(gdstk.Reference(l1m1_cdns_7790487106220, (3.55,2.19)))
dyn_comp_v1.add(gdstk.Reference(l1m1_cdns_7790487106238, (4.18,2.19)))
dyn_comp_v1.add(gdstk.Reference(m2m3_cdns_7790487106239, (6.105,1.805), rotation=pi, x_reflection=True))
dyn_comp_v1.add(gdstk.Reference(m2m3_cdns_7790487106239, (6.105,0.925), rotation=pi, x_reflection=True))
dyn_comp_v1.add(gdstk.Reference(m2m3_cdns_7790487106239, (2.245,1.805)))
dyn_comp_v1.add(gdstk.Reference(m2m3_cdns_7790487106239, (2.245,0.925)))
dyn_comp_v1.add(gdstk.Reference(m1m2_cdns_7790487106240, (6.105,1.805), rotation=pi, x_reflection=True))
dyn_comp_v1.add(gdstk.Reference(m1m2_cdns_7790487106240, (6.105,0.925), rotation=pi, x_reflection=True))
dyn_comp_v1.add(gdstk.Reference(m1m2_cdns_7790487106240, (2.245,1.805)))
dyn_comp_v1.add(gdstk.Reference(m1m2_cdns_7790487106240, (2.245,0.925)))
dyn_comp_v1.add(gdstk.Reference(l1m1_cdns_7790487106241, (6.105,1.805), rotation=pi, x_reflection=True))
dyn_comp_v1.add(gdstk.Reference(l1m1_cdns_7790487106241, (6.105,0.925), rotation=pi, x_reflection=True))
dyn_comp_v1.add(gdstk.Reference(l1m1_cdns_7790487106241, (2.245,1.805)))
dyn_comp_v1.add(gdstk.Reference(l1m1_cdns_7790487106241, (2.245,0.925)))
dyn_comp_v1.add(gdstk.Reference(m1m2_cdns_7790487106242, (2.095,3.115)))
dyn_comp_v1.add(gdstk.Label('GND', (3.34,-0.63), layer=68, texttype=5))
dyn_comp_v1.add(gdstk.Label('voutn', (2.09,14.99), layer=68, texttype=5))
dyn_comp_v1.add(gdstk.Label('voutp', (6.4,14.79), layer=68, texttype=5))
dyn_comp_v1.add(gdstk.Label('VDD', (3.225,7.465), layer=69, texttype=5))
dyn_comp_v1.add(gdstk.Label('nDETECT', (1.59,8.28), layer=69, texttype=5))
dyn_comp_v1.add(gdstk.Label('DETECT', (1.897,0.015), layer=69, texttype=5))
dyn_comp_v1.add(gdstk.Label('vm', (4.942,4.25), layer=70, texttype=5))
dyn_comp_v1.add(gdstk.Label('vp', (3.42,4.185), layer=70, texttype=5))

lib.write_gds('dyn_comp_v1.gds')
